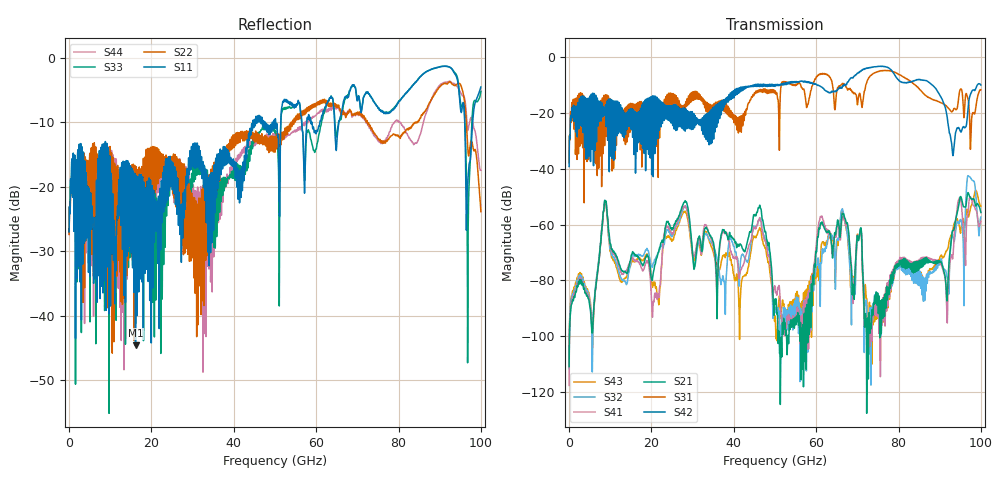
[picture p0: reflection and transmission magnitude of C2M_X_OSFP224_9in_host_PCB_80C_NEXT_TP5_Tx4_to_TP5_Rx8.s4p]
# GHz S RI R 45
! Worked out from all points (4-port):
!   4000 points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, 25 MHz to 100 GHz, reference 45 ohm
!   strongest paths, dB at 25 MHz, 25.02 GHz, 50.02 GHz, 75.03 GHz, 100 GHz:
!     S42: -39.1, -17.6, -10.4, -3.2, -9.9
!     S31: -37.8, -15.4, -12.1, -5.0, -11.6
!     S21: -111.0, -61.8, -87.0, -87.6, -55.7
!     S41: -117.8, -63.4, -82.8, -87.3, -58.8
!     S32: -111.7, -64.1, -90.0, -88.8, -57.3
!     S43: -108.2, -65.9, -92.8, -86.5, -53.4
!   lowest |S11| = -44.6 dB at 16.15 GHz (marker M1), VSWR 1.01, Z = 44.5 - j0.054 ohm
!   |S11| at or under -10 dB: start of sweep to 44.63 GHz; 58.96 GHz to 60.91 GHz (1.943 GHz wide, 3.24 % of centre); 96.08 GHz to 98 GHz (1.928 GHz wide, 1.99 % of centre) (the widest 3 of 16)
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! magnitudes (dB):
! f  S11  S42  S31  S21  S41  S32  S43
! 25 MHz  -27.0  -39.1  -37.8  -111.0  -117.8  -111.7  -108.2
! 8.75 GHz  -14.5  -19.2  -15.6  -51.5  -51.8  -51.8  -52.1
! 16.15 GHz  -44.6  -41.5  -22.1  -70.8  -72.8  -71.0  -72.8
! 66.4 GHz  -7.7  -10.3  -9.3  -56.0  -57.4  -54.4  -55.7
! 86.33 GHz  -2.4  -8.2  -13.4  -74.3  -71.9  -86.9  -81.3
! 93.17 GHz  -2.0  -35.1  -19.2  -62.1  -72.1  -63.7  -62.2
! 100 GHz  -4.6  -9.9  -11.6  -55.7  -58.8  -57.3  -53.4
